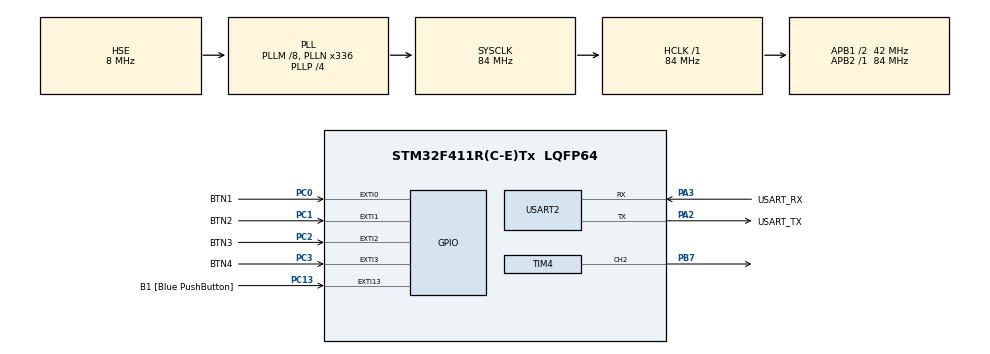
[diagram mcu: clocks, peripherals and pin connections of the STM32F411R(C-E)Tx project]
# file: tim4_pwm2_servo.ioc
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Mcu.Family=STM32F4
Mcu.Name=STM32F411R(C-E)Tx
Mcu.Package=LQFP64
NVIC.EXTI0_IRQn=true\:0\:0\:false\:false\:true\:true\:true\:true
NVIC.EXTI1_IRQn=true\:0\:0\:false\:false\:true\:true\:true\:true
NVIC.EXTI2_IRQn=true\:0\:0\:false\:false\:true\:true\:true\:true
NVIC.EXTI3_IRQn=true\:0\:0\:false\:false\:true\:true\:true\:true
NVIC.PriorityGroup=NVIC_PRIORITYGROUP_2
NVIC.TIM3_IRQn=true\:0\:0\:true\:false\:true\:true\:true\:true
NVIC.TIM4_IRQn=true\:0\:0\:false\:false\:true\:true\:true\:true
PA13.GPIO_Label=TMS
PA13.Mode=Serial_Wire
PA13.Signal=SYS_JTMS-SWDIO
PA14.GPIO_Label=TCK
PA14.Mode=Serial_Wire
PA14.Signal=SYS_JTCK-SWCLK
PA2.GPIO_Label=USART_TX
PA2.Mode=Asynchronous
PA2.Signal=USART2_TX
PA3.GPIO_Label=USART_RX
PA3.Mode=Asynchronous
PA3.Signal=USART2_RX
PB3.GPIO_Label=SWO
PB3.Signal=SYS_JTDO-SWO
PB7.Signal=S_TIM4_CH2
PC0.GPIO_Label=BTN1
PC0.Signal=GPXTI0
PC1.GPIO_Label=BTN2
PC1.Signal=GPXTI1
PC13-ANTI_TAMP.GPIO_Label=B1 [Blue PushButton]
PC13-ANTI_TAMP.GPIO_ModeDefaultEXTI=GPIO_MODE_IT_FALLING
PC13-ANTI_TAMP.Signal=GPXTI13
PC14-OSC32_IN.Signal=RCC_OSC32_IN
PC15-OSC32_OUT.Signal=RCC_OSC32_OUT
PC2.GPIO_Label=BTN3
PC2.Signal=GPXTI2
PC3.GPIO_Label=BTN4
PC3.Signal=GPXTI3
PH0\ -\ OSC_IN.Mode=HSE-External-Oscillator
PH0\ -\ OSC_IN.Signal=RCC_OSC_IN
PH1\ -\ OSC_OUT.Mode=HSE-External-Oscillator
PH1\ -\ OSC_OUT.Signal=RCC_OSC_OUT
ProjectManager.HeapSize=0x200
ProjectManager.StackSize=0x400
ProjectManager.TargetToolchain=STM32CubeIDE
RCC.48MHZClocksFreq_Value=84000000
RCC.AHBFreq_Value=84000000
RCC.APB1CLKDivider=RCC_HCLK_DIV2
RCC.APB1Freq_Value=42000000
RCC.APB1TimFreq_Value=84000000
RCC.APB2Freq_Value=84000000
RCC.APB2TimFreq_Value=84000000
RCC.CortexFreq_Value=84000000
RCC.FLatency-AdvancedSettings=FLASH_LATENCY_2
RCC.HCLKFreq_Value=84000000
RCC.HSE_VALUE=8000000
RCC.HSI_VALUE=16000000
RCC.LSE_VALUE=32768
RCC.PLLM=8
RCC.PLLN=336
RCC.PLLP=RCC_PLLP_DIV4
RCC.PLLSourceVirtual=RCC_PLLSOURCE_HSE
RCC.SYSCLKFreq_VALUE=84000000
RCC.SYSCLKSource=RCC_SYSCLKSOURCE_PLLCLK
RCC.VCOOutputFreq_Value=336000000
SH.S_TIM4_CH2.0=TIM4_CH2,PWM Generation2 CH2
TIM3.AutoReloadPreload=TIM_AUTORELOAD_PRELOAD_ENABLE
TIM3.Period=1000-1
TIM3.Prescaler=84-1
TIM4.Channel-PWM\ Generation2\ CH2=TIM_CHANNEL_2
TIM4.Period=20000-1
TIM4.Prescaler=84-1
USART2.VirtualMode=VM_ASYNC
VP_TIM3_VS_ClockSourceINT.Mode=Internal
VP_TIM4_VS_ClockSourceINT.Mode=Internal
board=NUCLEO-F411RE

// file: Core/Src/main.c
/* USER CODE BEGIN Header */
/**
  ******************************************************************************
  * @file           : main.c
  * @brief          : Main program body
  ******************************************************************************
  * @attention
  *
  * Copyright (c) 2024 STMicroelectronics.
  * All rights reserved.
  *
  * This software is licensed under terms that can be found in the LICENSE file
  * in the root directory of this software component.
  * If no LICENSE file comes with this software, it is provided AS-IS.
  *
  ******************************************************************************
  */
/* USER CODE END Header */
#include "main.h"

/* USER CODE BEGIN Includes */
#include <stdio.h>
/* USER CODE END Includes */

/* USER CODE BEGIN PD */
#ifdef __GNUC__
/* With GCC, small printf (option LD Linker->Libraries->Small printf
   set to 'Yes') calls __io_putchar() */
#define PUTCHAR_PROTOTYPE int __io_putchar(int ch)
#else
#define PUTCHAR_PROTOTYPE int fputc(int ch, FILE *f)
#endif /* __GNUC__ */
/* USER CODE END PD */

TIM_HandleTypeDef htim3;
TIM_HandleTypeDef htim4;

UART_HandleTypeDef huart2;

/* USER CODE BEGIN PV */
volatile int tim3Flag1Sec;
volatile int tim3Sec;
volatile unsigned int tim3;
volatile unsigned int tim3Cnt;
int keyNo = 0;
int saveparameter = 500;
int pulse = 500;
int startstate = 0;
/* USER CODE END PV */

void SystemClock_Config(void);
static void MX_GPIO_Init(void);
static void MX_USART2_UART_Init(void);
static void MX_TIM3_Init(void);
static void MX_TIM4_Init(void);

int main(void)
{

  /* USER CODE BEGIN 1 */
//	unsigned int tim3CntOld = 0;
  /* USER CODE END 1 */

  /* MCU Configuration--------------------------------------------------------*/

  /* Reset of all peripherals, Initializes the Flash interface and the Systick. */
  HAL_Init();

  /* Configure the system clock */
  SystemClock_Config();

  /* Initialize all configured peripherals */
  MX_GPIO_Init();
  MX_USART2_UART_Init();
  MX_TIM3_Init();
  MX_TIM4_Init();
  /* USER CODE BEGIN 2 */
  if(HAL_TIM_Base_Start_IT(&htim4) != HAL_OK)
  {
	  Error_Handler();
  }
  if(HAL_TIM_PWM_Start(&htim4, TIM_CHANNEL_2) != HAL_OK)
  {
	  Error_Handler();
  }
  printf("start main() - time4_pwm\r\n");
  /* USER CODE END 2 */

  /* Infinite loop */
  /* USER CODE BEGIN WHILE */
  while (1)
  {
	  if(keyNo == 1)
	  	  {
	  		  startstate = 1;
	  		  pulse = saveparameter;
	  	  }
	  	  if(keyNo == 2)
	  	  {
	  		  startstate = 0;
	  		  if(pulse != 500)
	  			  saveparameter = pulse;
	  		  pulse = 500;
	  		  printf("pulse : %d\r\n", pulse);

	  	  }

	  	  if(keyNo == 3)
	  	  {
	  		  pulse += 500;
	  		  if(pulse >= 2500)
	  			  pulse = 2500;
	  		printf("pulse : %d\r\n", pulse);
	  	  }
	  	  else if(keyNo == 4)
	  	  {
	  		  pulse -=500;
	  		if(pulse <= 500)
	  			pulse = 500;
	  		printf("pulse : %d\r\n", pulse);
	  	  }
	  	__HAL_TIM_SetCompare(&htim4,TIM_CHANNEL_2,pulse);

		  keyNo = 0;

//	  	  if(tim3Flag1Sec) // 1초마?�� ?��?��
//	  	  {
//	  		  tim3Flag1Sec = 0;
//	  		  letsgo = letsgo + pulse;
//	  		  if(letsgo >= 1000)
//	  			  letsgo = 1000;
//	  		  else if(letsgo <= 0)
//	  			  letsgo = 0;
//	  		  __HAL_TIM_SetCompare(&htim3, TIM_CHANNEL_1, letsgo);
//	  		  printf("letsgo : %d\r\n",letsgo);
//	  	  }
//	  __HAL_TIM_SetCompare(&htim4,TIM_CHANNEL_2,500);
//	  HAL_Delay(1000);
//	  __HAL_TIM_SetCompare(&htim4,TIM_CHANNEL_2,1000);
//	  HAL_Delay(1000);
//	  __HAL_TIM_SetCompare(&htim4,TIM_CHANNEL_2,1500);
//	  HAL_Delay(1000);
//	  __HAL_TIM_SetCompare(&htim4,TIM_CHANNEL_2,2000);
//	  HAL_Delay(1000);
//	  __HAL_TIM_SetCompare(&htim4,TIM_CHANNEL_2,2500);
//	  HAL_Delay(1000);

    /* USER CODE END WHILE */

  }
}

void SystemClock_Config(void)
{
  RCC_OscInitTypeDef RCC_OscInitStruct = {0};
  RCC_ClkInitTypeDef RCC_ClkInitStruct = {0};

  /** Configure the main internal regulator output voltage
  */
  __HAL_RCC_PWR_CLK_ENABLE();
  __HAL_PWR_VOLTAGESCALING_CONFIG(PWR_REGULATOR_VOLTAGE_SCALE1);

  /** Initializes the RCC Oscillators according to the specified parameters
  * in the RCC_OscInitTypeDef structure.
  */
  RCC_OscInitStruct.OscillatorType = RCC_OSCILLATORTYPE_HSE;
  RCC_OscInitStruct.HSEState = RCC_HSE_ON;
  RCC_OscInitStruct.PLL.PLLState = RCC_PLL_ON;
  RCC_OscInitStruct.PLL.PLLSource = RCC_PLLSOURCE_HSE;
  RCC_OscInitStruct.PLL.PLLM = 8;
  RCC_OscInitStruct.PLL.PLLN = 336;
  RCC_OscInitStruct.PLL.PLLP = RCC_PLLP_DIV4;
  RCC_OscInitStruct.PLL.PLLQ = 4;
  if (HAL_RCC_OscConfig(&RCC_OscInitStruct) != HAL_OK)
  {
    Error_Handler();
  }

  /** Initializes the CPU, AHB and APB buses clocks
  */
  RCC_ClkInitStruct.ClockType = RCC_CLOCKTYPE_HCLK|RCC_CLOCKTYPE_SYSCLK
                              |RCC_CLOCKTYPE_PCLK1|RCC_CLOCKTYPE_PCLK2;
  RCC_ClkInitStruct.SYSCLKSource = RCC_SYSCLKSOURCE_PLLCLK;
  RCC_ClkInitStruct.AHBCLKDivider = RCC_SYSCLK_DIV1;
  RCC_ClkInitStruct.APB1CLKDivider = RCC_HCLK_DIV2;
  RCC_ClkInitStruct.APB2CLKDivider = RCC_HCLK_DIV1;

  if (HAL_RCC_ClockConfig(&RCC_ClkInitStruct, FLASH_LATENCY_2) != HAL_OK)
  {
    Error_Handler();
  }
}

static void MX_TIM3_Init(void)
{

  TIM_ClockConfigTypeDef sClockSourceConfig = {0};
  TIM_MasterConfigTypeDef sMasterConfig = {0};

  htim3.Instance = TIM3;
  htim3.Init.Prescaler = 84-1;
  htim3.Init.CounterMode = TIM_COUNTERMODE_UP;
  htim3.Init.Period = 1000-1;
  htim3.Init.ClockDivision = TIM_CLOCKDIVISION_DIV1;
  htim3.Init.AutoReloadPreload = TIM_AUTORELOAD_PRELOAD_ENABLE;
  if (HAL_TIM_Base_Init(&htim3) != HAL_OK)
  {
    Error_Handler();
  }
  sClockSourceConfig.ClockSource = TIM_CLOCKSOURCE_INTERNAL;
  if (HAL_TIM_ConfigClockSource(&htim3, &sClockSourceConfig) != HAL_OK)
  {
    Error_Handler();
  }
  sMasterConfig.MasterOutputTrigger = TIM_TRGO_RESET;
  sMasterConfig.MasterSlaveMode = TIM_MASTERSLAVEMODE_DISABLE;
  if (HAL_TIMEx_MasterConfigSynchronization(&htim3, &sMasterConfig) != HAL_OK)
  {
    Error_Handler();
  }

}

static void MX_TIM4_Init(void)
{

  TIM_ClockConfigTypeDef sClockSourceConfig = {0};
  TIM_MasterConfigTypeDef sMasterConfig = {0};
  TIM_OC_InitTypeDef sConfigOC = {0};

  htim4.Instance = TIM4;
  htim4.Init.Prescaler = 84-1;
  htim4.Init.CounterMode = TIM_COUNTERMODE_UP;
  htim4.Init.Period = 20000-1;
  htim4.Init.ClockDivision = TIM_CLOCKDIVISION_DIV1;
  htim4.Init.AutoReloadPreload = TIM_AUTORELOAD_PRELOAD_DISABLE;
  if (HAL_TIM_Base_Init(&htim4) != HAL_OK)
  {
    Error_Handler();
  }
  sClockSourceConfig.ClockSource = TIM_CLOCKSOURCE_INTERNAL;
  if (HAL_TIM_ConfigClockSource(&htim4, &sClockSourceConfig) != HAL_OK)
  {
    Error_Handler();
  }
  if (HAL_TIM_PWM_Init(&htim4) != HAL_OK)
  {
    Error_Handler();
  }
  sMasterConfig.MasterOutputTrigger = TIM_TRGO_RESET;
  sMasterConfig.MasterSlaveMode = TIM_MASTERSLAVEMODE_DISABLE;
  if (HAL_TIMEx_MasterConfigSynchronization(&htim4, &sMasterConfig) != HAL_OK)
  {
    Error_Handler();
  }
  sConfigOC.OCMode = TIM_OCMODE_PWM1;
  sConfigOC.Pulse = 0;
  sConfigOC.OCPolarity = TIM_OCPOLARITY_HIGH;
  sConfigOC.OCFastMode = TIM_OCFAST_DISABLE;
  if (HAL_TIM_PWM_ConfigChannel(&htim4, &sConfigOC, TIM_CHANNEL_2) != HAL_OK)
  {
    Error_Handler();
  }
  HAL_TIM_MspPostInit(&htim4);

}

static void MX_USART2_UART_Init(void)
{

  huart2.Instance = USART2;
  huart2.Init.BaudRate = 115200;
  huart2.Init.WordLength = UART_WORDLENGTH_8B;
  huart2.Init.StopBits = UART_STOPBITS_1;
  huart2.Init.Parity = UART_PARITY_NONE;
  huart2.Init.Mode = UART_MODE_TX_RX;
  huart2.Init.HwFlowCtl = UART_HWCONTROL_NONE;
  huart2.Init.OverSampling = UART_OVERSAMPLING_16;
  if (HAL_UART_Init(&huart2) != HAL_OK)
  {
    Error_Handler();
  }

}

static void MX_GPIO_Init(void)
{
  GPIO_InitTypeDef GPIO_InitStruct = {0};

  /* GPIO Ports Clock Enable */
  __HAL_RCC_GPIOC_CLK_ENABLE();
  __HAL_RCC_GPIOH_CLK_ENABLE();
  __HAL_RCC_GPIOA_CLK_ENABLE();
  __HAL_RCC_GPIOB_CLK_ENABLE();

  /*Configure GPIO pin : B1_Pin */
  GPIO_InitStruct.Pin = B1_Pin;
  GPIO_InitStruct.Mode = GPIO_MODE_IT_FALLING;
  GPIO_InitStruct.Pull = GPIO_NOPULL;
  HAL_GPIO_Init(B1_GPIO_Port, &GPIO_InitStruct);

  /*Configure GPIO pins : BTN1_Pin BTN2_Pin BTN3_Pin BTN4_Pin */
  GPIO_InitStruct.Pin = BTN1_Pin|BTN2_Pin|BTN3_Pin|BTN4_Pin;
  GPIO_InitStruct.Mode = GPIO_MODE_IT_RISING;
  GPIO_InitStruct.Pull = GPIO_NOPULL;
  HAL_GPIO_Init(GPIOC, &GPIO_InitStruct);

  /* EXTI interrupt init*/
  HAL_NVIC_SetPriority(EXTI0_IRQn, 0, 0);
  HAL_NVIC_EnableIRQ(EXTI0_IRQn);

  HAL_NVIC_SetPriority(EXTI1_IRQn, 0, 0);
  HAL_NVIC_EnableIRQ(EXTI1_IRQn);

  HAL_NVIC_SetPriority(EXTI2_IRQn, 0, 0);
  HAL_NVIC_EnableIRQ(EXTI2_IRQn);

  HAL_NVIC_SetPriority(EXTI3_IRQn, 0, 0);
  HAL_NVIC_EnableIRQ(EXTI3_IRQn);

}

/* USER CODE BEGIN 4 */
/**
  * @brief  Retargets the C library printf function to the USART.
  * @param  None
  * @retval None
  */
PUTCHAR_PROTOTYPE
{
  /* Place your implementation of fputc here */
  /* e.g. write a character to the USART6 and Loop until the end of transmission */
  HAL_UART_Transmit(&huart2, (uint8_t *)&ch, 1, 0xFFFF);

  return ch;
}
void HAL_TIM_PeriodElapsedCallback(TIM_HandleTypeDef *htim)
{
//	tim3Cnt++;
//	if(tim3Cnt == 100) // 1ms * 1000 = 1sec
//	{
//		tim3Flag1Sec = 1;
//		tim3Sec++;
//		tim3Cnt = 0;
//	}

}
void HAL_GPIO_EXTI_Callback(uint16_t GPIO_Pin)
{
	switch(GPIO_Pin)
	{
	case BTN1_Pin:
		keyNo = 1;
		break;
	case BTN2_Pin:
		keyNo = 2;
		break;
	case BTN3_Pin:
		keyNo = 3;
		break;
	case BTN4_Pin:
		keyNo = 4;
		break;
	}
}
/* USER CODE END 4 */

void Error_Handler(void)
{
  __disable_irq();
  while (1)
  {
  }
}
